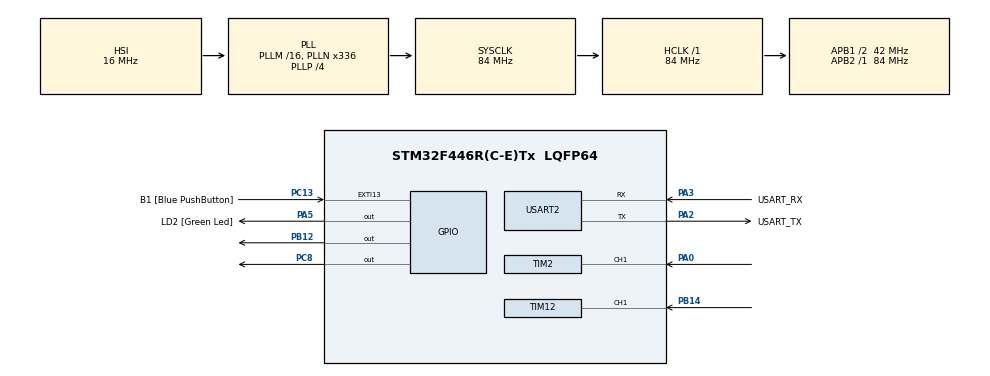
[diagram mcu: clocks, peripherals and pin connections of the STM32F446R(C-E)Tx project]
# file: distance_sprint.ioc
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Mcu.Family=STM32F4
Mcu.Name=STM32F446R(C-E)Tx
Mcu.Package=LQFP64
NVIC.PriorityGroup=NVIC_PRIORITYGROUP_0
NVIC.TIM2_IRQn=true\:0\:0\:false\:false\:true\:true\:true\:true
NVIC.TIM8_BRK_TIM12_IRQn=true\:0\:0\:false\:false\:true\:true\:true\:true
PA0-WKUP.Signal=S_TIM2_CH1_ETR
PA13.GPIO_Label=TMS
PA13.Mode=Serial_Wire
PA13.Signal=SYS_JTMS-SWDIO
PA14.GPIO_Label=TCK
PA14.Mode=Serial_Wire
PA14.Signal=SYS_JTCK-SWCLK
PA2.GPIO_Label=USART_TX
PA2.Mode=Asynchronous
PA2.Signal=USART2_TX
PA3.GPIO_Label=USART_RX
PA3.Mode=Asynchronous
PA3.Signal=USART2_RX
PA5.GPIO_Label=LD2 [Green Led]
PA5.Signal=GPIO_Output
PB12.Signal=GPIO_Output
PB14.Signal=S_TIM12_CH1
PB3.GPIO_Label=SWO
PB3.Signal=SYS_JTDO-SWO
PC13.GPIO_Label=B1 [Blue PushButton]
PC13.GPIO_ModeDefaultEXTI=GPIO_MODE_IT_FALLING
PC13.Signal=GPXTI13
PC14-OSC32_IN.Mode=LSE-External-Oscillator
PC14-OSC32_IN.Signal=RCC_OSC32_IN
PC15-OSC32_OUT.Mode=LSE-External-Oscillator
PC15-OSC32_OUT.Signal=RCC_OSC32_OUT
PC8.Signal=GPIO_Output
PH0-OSC_IN.Mode=HSE-External-Oscillator
PH0-OSC_IN.Signal=RCC_OSC_IN
PH1-OSC_OUT.Mode=HSE-External-Oscillator
PH1-OSC_OUT.Signal=RCC_OSC_OUT
ProjectManager.HeapSize=0x200
ProjectManager.StackSize=0x400
ProjectManager.TargetToolchain=STM32CubeIDE
RCC.48MHZClocksFreq_Value=84000000
RCC.AHBFreq_Value=84000000
RCC.APB1CLKDivider=RCC_HCLK_DIV2
RCC.APB1Freq_Value=42000000
RCC.APB1TimFreq_Value=84000000
RCC.APB2Freq_Value=84000000
RCC.APB2TimFreq_Value=84000000
RCC.CortexFreq_Value=84000000
RCC.FLatency-AdvancedSettings=FLASH_LATENCY_2
RCC.HCLKFreq_Value=84000000
RCC.HSE_VALUE=8000000
RCC.HSI_VALUE=16000000
RCC.PLLN=336
RCC.PLLP=RCC_PLLP_DIV4
RCC.SYSCLKFreq_VALUE=84000000
RCC.SYSCLKSource=RCC_SYSCLKSOURCE_PLLCLK
RCC.USBFreq_Value=168000000
RCC.VCOOutputFreq_Value=336000000
SH.S_TIM12_CH1.0=TIM12_CH1,Input_Capture1_from_TI1
SH.S_TIM2_CH1_ETR.0=TIM2_CH1,Input_Capture1_from_TI1
TIM12.Channel-Input_Capture1_from_TI1=TIM_CHANNEL_1
TIM2.Channel-Input_Capture1_from_TI1=TIM_CHANNEL_1
USART2.VirtualMode=VM_ASYNC
VP_TIM12_VS_ClockSourceINT.Mode=Internal
VP_TIM2_VS_ClockSourceINT.Mode=Internal
board=NUCLEO-F446RE

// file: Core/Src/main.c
/* USER CODE BEGIN Header */
/**
  ******************************************************************************
  * @file           : main.c
  * @brief          : Main program body
  ******************************************************************************
  * @attention
  *
  * Copyright (c) 2026 STMicroelectronics.
  * All rights reserved.
  *
  * This software is licensed under terms that can be found in the LICENSE file
  * in the root directory of this software component.
  * If no LICENSE file comes with this software, it is provided AS-IS.
  *
  ******************************************************************************
  */
/* USER CODE END Header */
#include "main.h"

/* USER CODE BEGIN Includes */
#include "../inc/HCSR04.h"
#define HCSR04_SENSOR1  0
#include <stdio.h>
#include <string.h>

/* USER CODE END Includes */

TIM_HandleTypeDef htim2;
TIM_HandleTypeDef htim12;

UART_HandleTypeDef huart2;

/* USER CODE BEGIN PV */
uint16_t TRIG_Ticks = 0;

float Distance = 0.0;
char TEXT[16] = {0};

/* USER CODE END PV */

void SystemClock_Config(void);
static void MX_GPIO_Init(void);
static void MX_USART2_UART_Init(void);
static void MX_TIM2_Init(void);
static void MX_TIM12_Init(void);

int main(void)
{

  /* MCU Configuration--------------------------------------------------------*/

  /* Reset of all peripherals, Initializes the Flash interface and the Systick. */
  HAL_Init();

  /* Configure the system clock */
  SystemClock_Config();

  /* Initialize all configured peripherals */
  MX_GPIO_Init();
  MX_USART2_UART_Init();
  MX_TIM2_Init();
  MX_TIM12_Init();
  /* USER CODE BEGIN 2 */
  HCSR04_Init(HCSR04_SENSOR1, &htim12);
  sprintf(TEXT, "Dist= %.2f cm\r\n", Distance);
  HAL_UART_Transmit(&huart2, (uint8_t*)TEXT, strlen(TEXT), 1000);

  /* USER CODE END 2 */

  /* Infinite loop */
  while (1)
  {

    /* USER CODE BEGIN 3 */
	  Distance = HCSR04_Read(HCSR04_SENSOR1);
	  if (Distance > 0) {
		  sprintf(TEXT, "Dist= %.2f cm\r\n", Distance);
		  HAL_UART_Transmit(&huart2, (uint8_t*)TEXT, strlen(TEXT), 1000);
		  HAL_Delay(100);
	  }

  }
  /* USER CODE END 3 */
}

void SystemClock_Config(void)
{
  RCC_OscInitTypeDef RCC_OscInitStruct = {0};
  RCC_ClkInitTypeDef RCC_ClkInitStruct = {0};

  /** Configure the main internal regulator output voltage
  */
  __HAL_RCC_PWR_CLK_ENABLE();
  __HAL_PWR_VOLTAGESCALING_CONFIG(PWR_REGULATOR_VOLTAGE_SCALE3);

  /** Initializes the RCC Oscillators according to the specified parameters
  * in the RCC_OscInitTypeDef structure.
  */
  RCC_OscInitStruct.OscillatorType = RCC_OSCILLATORTYPE_HSI;
  RCC_OscInitStruct.HSIState = RCC_HSI_ON;
  RCC_OscInitStruct.HSICalibrationValue = RCC_HSICALIBRATION_DEFAULT;
  RCC_OscInitStruct.PLL.PLLState = RCC_PLL_ON;
  RCC_OscInitStruct.PLL.PLLSource = RCC_PLLSOURCE_HSI;
  RCC_OscInitStruct.PLL.PLLM = 16;
  RCC_OscInitStruct.PLL.PLLN = 336;
  RCC_OscInitStruct.PLL.PLLP = RCC_PLLP_DIV4;
  RCC_OscInitStruct.PLL.PLLQ = 2;
  RCC_OscInitStruct.PLL.PLLR = 2;
  if (HAL_RCC_OscConfig(&RCC_OscInitStruct) != HAL_OK)
  {
    Error_Handler();
  }

  /** Initializes the CPU, AHB and APB buses clocks
  */
  RCC_ClkInitStruct.ClockType = RCC_CLOCKTYPE_HCLK|RCC_CLOCKTYPE_SYSCLK
                              |RCC_CLOCKTYPE_PCLK1|RCC_CLOCKTYPE_PCLK2;
  RCC_ClkInitStruct.SYSCLKSource = RCC_SYSCLKSOURCE_PLLCLK;
  RCC_ClkInitStruct.AHBCLKDivider = RCC_SYSCLK_DIV1;
  RCC_ClkInitStruct.APB1CLKDivider = RCC_HCLK_DIV2;
  RCC_ClkInitStruct.APB2CLKDivider = RCC_HCLK_DIV1;

  if (HAL_RCC_ClockConfig(&RCC_ClkInitStruct, FLASH_LATENCY_2) != HAL_OK)
  {
    Error_Handler();
  }
}

static void MX_TIM2_Init(void)
{

  TIM_ClockConfigTypeDef sClockSourceConfig = {0};
  TIM_MasterConfigTypeDef sMasterConfig = {0};
  TIM_IC_InitTypeDef sConfigIC = {0};

  htim2.Instance = TIM2;
  htim2.Init.Prescaler = 0;
  htim2.Init.CounterMode = TIM_COUNTERMODE_UP;
  htim2.Init.Period = 4294967295;
  htim2.Init.ClockDivision = TIM_CLOCKDIVISION_DIV1;
  htim2.Init.AutoReloadPreload = TIM_AUTORELOAD_PRELOAD_DISABLE;
  if (HAL_TIM_Base_Init(&htim2) != HAL_OK)
  {
    Error_Handler();
  }
  sClockSourceConfig.ClockSource = TIM_CLOCKSOURCE_INTERNAL;
  if (HAL_TIM_ConfigClockSource(&htim2, &sClockSourceConfig) != HAL_OK)
  {
    Error_Handler();
  }
  if (HAL_TIM_IC_Init(&htim2) != HAL_OK)
  {
    Error_Handler();
  }
  sMasterConfig.MasterOutputTrigger = TIM_TRGO_RESET;
  sMasterConfig.MasterSlaveMode = TIM_MASTERSLAVEMODE_DISABLE;
  if (HAL_TIMEx_MasterConfigSynchronization(&htim2, &sMasterConfig) != HAL_OK)
  {
    Error_Handler();
  }
  sConfigIC.ICPolarity = TIM_INPUTCHANNELPOLARITY_RISING;
  sConfigIC.ICSelection = TIM_ICSELECTION_DIRECTTI;
  sConfigIC.ICPrescaler = TIM_ICPSC_DIV1;
  sConfigIC.ICFilter = 0;
  if (HAL_TIM_IC_ConfigChannel(&htim2, &sConfigIC, TIM_CHANNEL_1) != HAL_OK)
  {
    Error_Handler();
  }

}

static void MX_TIM12_Init(void)
{

  TIM_ClockConfigTypeDef sClockSourceConfig = {0};
  TIM_IC_InitTypeDef sConfigIC = {0};

  htim12.Instance = TIM12;
  htim12.Init.Prescaler = 0;
  htim12.Init.CounterMode = TIM_COUNTERMODE_UP;
  htim12.Init.Period = 65535;
  htim12.Init.ClockDivision = TIM_CLOCKDIVISION_DIV1;
  htim12.Init.AutoReloadPreload = TIM_AUTORELOAD_PRELOAD_DISABLE;
  if (HAL_TIM_Base_Init(&htim12) != HAL_OK)
  {
    Error_Handler();
  }
  sClockSourceConfig.ClockSource = TIM_CLOCKSOURCE_INTERNAL;
  if (HAL_TIM_ConfigClockSource(&htim12, &sClockSourceConfig) != HAL_OK)
  {
    Error_Handler();
  }
  if (HAL_TIM_IC_Init(&htim12) != HAL_OK)
  {
    Error_Handler();
  }
  sConfigIC.ICPolarity = TIM_INPUTCHANNELPOLARITY_RISING;
  sConfigIC.ICSelection = TIM_ICSELECTION_DIRECTTI;
  sConfigIC.ICPrescaler = TIM_ICPSC_DIV1;
  sConfigIC.ICFilter = 0;
  if (HAL_TIM_IC_ConfigChannel(&htim12, &sConfigIC, TIM_CHANNEL_1) != HAL_OK)
  {
    Error_Handler();
  }

}

static void MX_USART2_UART_Init(void)
{

  huart2.Instance = USART2;
  huart2.Init.BaudRate = 115200;
  huart2.Init.WordLength = UART_WORDLENGTH_8B;
  huart2.Init.StopBits = UART_STOPBITS_1;
  huart2.Init.Parity = UART_PARITY_NONE;
  huart2.Init.Mode = UART_MODE_TX_RX;
  huart2.Init.HwFlowCtl = UART_HWCONTROL_NONE;
  huart2.Init.OverSampling = UART_OVERSAMPLING_16;
  if (HAL_UART_Init(&huart2) != HAL_OK)
  {
    Error_Handler();
  }

}

static void MX_GPIO_Init(void)
{
  GPIO_InitTypeDef GPIO_InitStruct = {0};

  /* GPIO Ports Clock Enable */
  __HAL_RCC_GPIOC_CLK_ENABLE();
  __HAL_RCC_GPIOH_CLK_ENABLE();
  __HAL_RCC_GPIOA_CLK_ENABLE();
  __HAL_RCC_GPIOB_CLK_ENABLE();

  /*Configure GPIO pin Output Level */
  HAL_GPIO_WritePin(LD2_GPIO_Port, LD2_Pin, GPIO_PIN_RESET);

  /*Configure GPIO pin Output Level */
  HAL_GPIO_WritePin(GPIOB, GPIO_PIN_12, GPIO_PIN_RESET);

  /*Configure GPIO pin Output Level */
  HAL_GPIO_WritePin(GPIOC, GPIO_PIN_8, GPIO_PIN_RESET);

  /*Configure GPIO pin : B1_Pin */
  GPIO_InitStruct.Pin = B1_Pin;
  GPIO_InitStruct.Mode = GPIO_MODE_IT_FALLING;
  GPIO_InitStruct.Pull = GPIO_NOPULL;
  HAL_GPIO_Init(B1_GPIO_Port, &GPIO_InitStruct);

  /*Configure GPIO pin : LD2_Pin */
  GPIO_InitStruct.Pin = LD2_Pin;
  GPIO_InitStruct.Mode = GPIO_MODE_OUTPUT_PP;
  GPIO_InitStruct.Pull = GPIO_NOPULL;
  GPIO_InitStruct.Speed = GPIO_SPEED_FREQ_LOW;
  HAL_GPIO_Init(LD2_GPIO_Port, &GPIO_InitStruct);

  /*Configure GPIO pin : PB12 */
  GPIO_InitStruct.Pin = GPIO_PIN_12;
  GPIO_InitStruct.Mode = GPIO_MODE_OUTPUT_PP;
  GPIO_InitStruct.Pull = GPIO_NOPULL;
  GPIO_InitStruct.Speed = GPIO_SPEED_FREQ_LOW;
  HAL_GPIO_Init(GPIOB, &GPIO_InitStruct);

  /*Configure GPIO pin : PC8 */
  GPIO_InitStruct.Pin = GPIO_PIN_8;
  GPIO_InitStruct.Mode = GPIO_MODE_OUTPUT_PP;
  GPIO_InitStruct.Pull = GPIO_NOPULL;
  GPIO_InitStruct.Speed = GPIO_SPEED_FREQ_LOW;
  HAL_GPIO_Init(GPIOC, &GPIO_InitStruct);

}

/* USER CODE BEGIN 4 */
void HAL_TIM_IC_CaptureCallback(TIM_HandleTypeDef *htim)
{
    HCSR04_TMR_IC_ISR(htim);
}

void HAL_TIM_PeriodElapsedCallback(TIM_HandleTypeDef* htim)
{
    HCSR04_TMR_OVF_ISR(htim);
}

void SysTick_CallBack(void)
{
    TRIG_Ticks++;

    if(TRIG_Ticks >= 60) // Each 15msec
    {
        HCSR04_Trigger(HCSR04_SENSOR1);
        TRIG_Ticks = 0;
    }

}

/* USER CODE END 4 */

void Error_Handler(void)
{
  __disable_irq();
  while (1)
  {
  }
}
